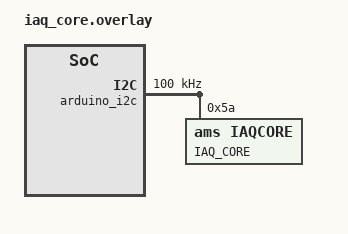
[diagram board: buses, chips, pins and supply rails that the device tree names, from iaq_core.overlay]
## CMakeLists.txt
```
# SPDX-License-Identifier: Apache-2.0

cmake_minimum_required(VERSION 3.13.1)

set(DTC_OVERLAY_FILE "${CMAKE_CURRENT_SOURCE_DIR}/iaq_core.overlay")

find_package(Zephyr REQUIRED HINTS $ENV{ZEPHYR_BASE})
project(iAQcore)

FILE(GLOB app_sources src/*.c)
target_sources(app PRIVATE ${app_sources})
```

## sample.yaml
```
sample:
  description: Demonstration of the AMS iAQ-core Digital VOC Sensor driver
  name: iAQcore sample
tests:
  sample.sensor.iaqcore:
    harness: sensor
    tags: samples
    depends_on: i2c arduino_i2c
```

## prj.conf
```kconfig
CONFIG_I2C=y
CONFIG_SENSOR=y
CONFIG_AMS_IAQ_CORE=y
```

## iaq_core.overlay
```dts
/*
 * Copyright (c) 2018 Alexander Wachter
 * SPDX-License-Identifier: Apache-2.0
 */

&arduino_i2c {
	status = "okay";
	clock-frequency = <I2C_BITRATE_STANDARD>;

	iaqcore: iaqcore@5a {
		compatible = "ams,iaqcore";
		reg = <0x5a>;
		label = "IAQ_CORE";
	};
};
```

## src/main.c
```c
/*
 * Copyright (c) 2018 Alexander Wachter
 *
 * SPDX-License-Identifier: Apache-2.0
 */

#include <zephyr.h>
#include <device.h>
#include <drivers/sensor.h>
#include <sys/printk.h>

void main(void)
{
	const struct device *dev;
	struct sensor_value co2, voc;

	dev = device_get_binding(DT_LABEL(DT_INST(0, ams_iaqcore)));
	if (!dev) {
		printk("Failed to get device binding");
		return;
	}

	printk("device is %p, name is %s\n", dev, dev->name);

	while (1) {
		sensor_sample_fetch(dev);
		sensor_channel_get(dev, SENSOR_CHAN_CO2, &co2);
		sensor_channel_get(dev, SENSOR_CHAN_VOC, &voc);
		printk("Co2: %d.%06dppm; VOC: %d.%06dppb\n",
			co2.val1, co2.val2,
			voc.val1, voc.val2);

		k_sleep(K_MSEC(1000));
	}
}
```
